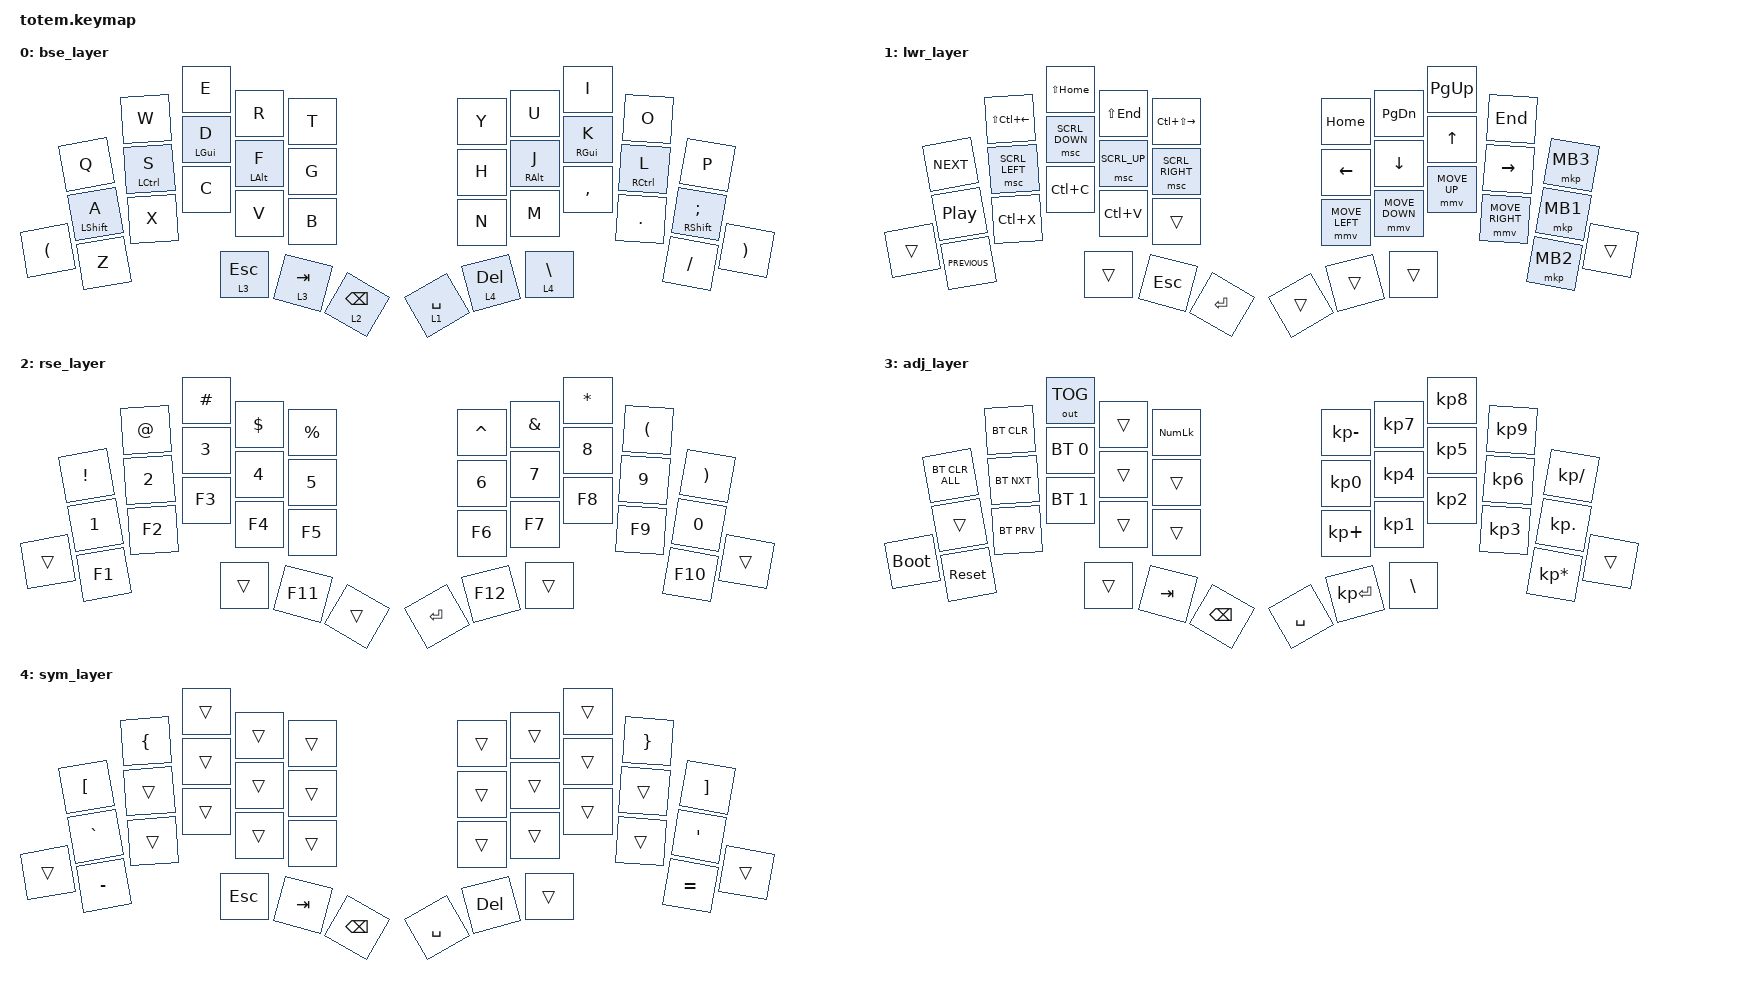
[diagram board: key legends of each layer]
//
//                                                        ▀▀▀▀▀     ▀▀▀▀▀          ▀▀█▀▀
//                                                        ▄▀▀▀▄  ▄  ▄▀▀▀▄  ▄  ▄▀▀▀▄  █  ▄▀▀▀▄
//                                                        █   █  █  █   █  █  █   █  █  █   █
//                                                         ▀▀▀   █   ▀▀▀   █   ▀▀▀   ▀   ▀▀▀
//                                                               █      ▄▄▄█▄▄▄    █   █  
//                                                               ▀      █  █  █     █▄█
//                                                             ▀▀▀▀▀    █  █  █      ▀
//                                                                      ▀  ▀  ▀
//
// ▄▄▄▄▄▄▄▄▄▄▄▄▄▄▄▄▄▄▄▄▄▄▄▄▄▄▄▄▄▄▄▄▄▄▄▄▄▄▄▄▄▄▄▄▄▄▄▄▄▄▄▄▄▄▄▄▄▄▄▄▄▄▄▄▄▄▄▄▄▄▄▄▄▄▄▄▄▄▄▄▄▄▄▄▄▄▄▄▄▄▄▄▄▄▄▄▄▄▄▄▄▄▄▄▄▄▄▄▄▄▄▄▄▄▄▄▄▄▄▄▄▄▄▄▄▄▄▄▄▄▄▄▄▄▄▄▄▄▄▄▄▄▄▄▄▄▄▄▄
       
#include <behaviors.dtsi>
#include <dt-bindings/zmk/bt.h>
#include <dt-bindings/zmk/keys.h>
#include <dt-bindings/zmk/mouse.h>
#include <dt-bindings/zmk/outputs.h>
#include <dt-bindings/zmk/pointing.h>

#define BSE 0
#define LWR 1
#define RSE 2
#define ADJ 3
#define SYM 4
#define ZMK_MOUSE_DEFAULT_MOVE_VAL 1500  // 600
#define ZMK_MOUSE_DEFAULT_SCRL_VAL 5     // 10

// mouse movement

&mmv {
    acceleration-exponent = <1>;      // 1
    time-to-max-speed-ms = <500>;     // 300
    delay-ms = <0>;                   // 0
};

&mt {
    flavor = "tap-preferred";
    tapping-term-ms = <200>;
    quick-tap-ms = <170>;
    require-prior-idle-ms = <30>;
};

&lt {
    quick-tap-ms = <250>; // This allows the tapped key to be repeated.
    tapping-term-ms = <250>;
    flavor = "tap-preferred";
    require-prior-idle-ms = <125>;
};

/ {
    combos {
        compatible = "zmk,combos";

        combo_backslash {
            bindings = <&kp BACKSLASH>;
            key-positions = <29 30>;
            timeout-ms = <50>;
        };

        combo_esc {
            bindings = <&kp ESC>;
            key-positions = <0 1>;
            timeout-ms = <50>;
        };

        combo_minus {
            bindings = <&kp MINUS>;
            key-positions = <21 22>;
            timeout-ms = <50>;
        };

        combo_quote {
            bindings = <&kp SINGLE_QUOTE>;
            key-positions = <18 19>;
            timeout-ms = <50>;
        };
    };

    keymap {
        compatible = "zmk,keymap";

        bse_layer {
            bindings = <
        &kp Q             &kp W        &kp E           &kp R           &kp T            &kp Y        &kp U            &kp I            &kp O                &kp P
        &mt LEFT_SHIFT A  &mt LCTRL S  &mt LEFT_GUI D  &mt LEFT_ALT F  &kp G            &kp H        &mt RIGHT_ALT J  &mt RIGHT_GUI K  &mt RIGHT_CONTROL L  &mt RIGHT_SHIFT SEMICOLON
&kp LEFT_PARENTHESIS      &kp Z        &kp X           &kp C           &kp V            &kp B        &kp N            &kp M            &kp COMMA            &kp DOT     &kp FSLH        &kp RIGHT_PARENTHESIS        
                                &lt 3 ESC       &lt 3 TAB       &lt 2 BACKSPACE         &lt 1 SPACE             &lt 4 DELETE            &lt 4 BACKSLASH
            >;

        };


        lwr_layer {
            bindings = <
        &kp C_NEXT        &kp LS(LC(LEFT))  &kp LS(HOME)    &kp LS(END)   &kp LC(LS(RIGHT))  &kp HOME        &kp PAGE_DOWN   &kp PG_UP     &kp END          &mkp MB3
        &kp C_PLAY_PAUSE  &msc SCRL_LEFT    &msc SCRL_DOWN  &msc SCRL_UP  &msc SCRL_RIGHT    &kp LEFT_ARROW  &kp DOWN_ARROW  &kp UP_ARROW  &kp RIGHT_ARROW  &mkp MB1
&trans  &kp C_PREVIOUS    &kp LC(X)         &kp LC(C)       &kp LC(V)     &trans             &mmv MOVE_LEFT  &mmv MOVE_DOWN  &mmv MOVE_UP  &mmv MOVE_RIGHT  &mkp MB2      &trans
                                &trans        &kp ESCAPE        &kp ENTER               &trans          &trans          &trans
            >;

        };


        rse_layer {
            bindings = <
        &kp EXCLAMATION  &kp AT_SIGN  &kp HASH  &kp DOLLAR  &kp PERCENT  &kp CARET  &kp AMPERSAND  &kp ASTERISK  &kp LEFT_PARENTHESIS  &kp RIGHT_PARENTHESIS
        &kp N1           &kp N2       &kp N3    &kp N4      &kp N5       &kp N6     &kp N7         &kp N8        &kp N9                &kp N0
&trans  &kp F1           &kp F2       &kp F3    &kp F4      &kp F5       &kp F6     &kp F7         &kp F8        &kp F9                &kp F10    &trans
                                &trans        &kp F11           &trans                  &kp ENTER       &kp F12        &trans
            >;
        };


        adj_layer {
            bindings = <
        &bt BT_CLR_ALL      &bt BT_CLR  &out OUT_TOG  &trans  &kp KP_NUMLOCK &kp KP_MINUS     &kp KP_NUMBER_7  &kp KP_NUMBER_8  &kp KP_NUMBER_9  &kp KP_SLASH
        &trans              &bt BT_NXT  &bt BT_SEL 0  &trans  &trans         &kp KP_NUMBER_0  &kp KP_NUMBER_4  &kp KP_NUMBER_5  &kp KP_NUMBER_6  &kp KP_DOT
&bootloader   &sys_reset    &bt BT_PRV  &bt BT_SEL 1  &trans  &trans         &kp KP_PLUS      &kp KP_NUMBER_1  &kp KP_NUMBER_2  &kp KP_NUMBER_3  &kp KP_ASTERISK  &trans
                                &trans        &kp TAB           &kp BACKSPACE           &kp SPACE       &kp KP_ENTER   &kp BACKSLASH
            >;
        };


        sym_layer {
            bindings = <
        &kp LEFT_BRACKET  &kp LEFT_BRACE  &trans  &trans   &trans         &trans     &trans  &trans  &kp RIGHT_BRACE    &kp RIGHT_BRACKET
        &kp GRAVE         &trans          &trans  &trans   &trans         &trans     &trans  &trans  &trans             &kp SINGLE_QUOTE
&trans  &kp MINUS         &trans          &trans  &trans   &trans         &trans     &trans  &trans  &trans             &kp EQUAL       &trans
                                &kp ESC         &kp TAB         &kp BACKSPACE           &kp SPACE       &kp DELETE      &trans
            >;
        };
    };
};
